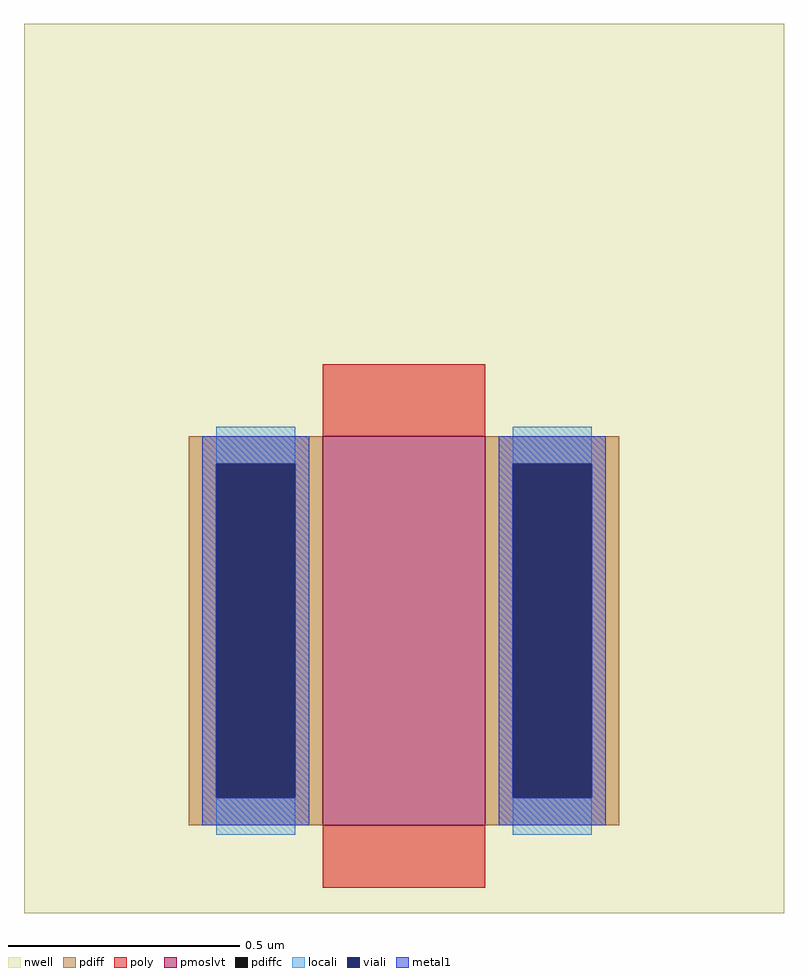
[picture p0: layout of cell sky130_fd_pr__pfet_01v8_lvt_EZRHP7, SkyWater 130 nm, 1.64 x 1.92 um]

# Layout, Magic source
magic
tech sky130A
magscale 1 2
<< nwell >>
rect -164 -122 164 262
<< pmoslvt >>
rect -35 -84 35 84
<< pdiff >>
rect -93 72 -35 84
rect -93 -72 -81 72
rect -47 -72 -35 72
rect -93 -84 -35 -72
rect 35 72 93 84
rect 35 -72 47 72
rect 81 -72 93 72
rect 35 -84 93 -72
<< pdiffc >>
rect -81 -72 -47 72
rect 47 -72 81 72
<< poly >>
rect -35 84 35 115
rect -35 -111 35 -84
<< locali >>
rect -81 72 -47 88
rect -81 -88 -47 -72
rect 47 72 81 88
rect 47 -88 81 -72
<< viali >>
rect -81 -72 -47 72
rect 47 -72 81 72
<< metal1 >>
rect -87 72 -41 84
rect -87 -72 -81 72
rect -47 -72 -41 72
rect -87 -84 -41 -72
rect 41 72 87 84
rect 41 -72 47 72
rect 81 -72 87 72
rect 41 -84 87 -72
<< properties >>
string FIXED_BBOX -178 -250 178 250
string gencell sky130_fd_pr__pfet_01v8_lvt
string library sky130
string parameters w 0.84 l 0.35 m 1 nf 1 diffcov 100 polycov 100 guard 1 glc 1 grc 1 gtc 1 gbc 1 tbcov 100 rlcov 100 topc 1 botc 1 poverlap 0 doverlap 1 lmin 0.35 wmin 0.42 compatible {sky130_fd_pr__pfet_01v8  sky130_fd_pr__pfet_01v8_lvt sky130_fd_pr__pfet_01v8_hvt  sky130_fd_pr__pfet_g5v0d10v5} full_metal 1 viasrc 100 viadrn 100 viagate 100 viagb 0 viagr 0 viagl 0 viagt 0
<< end >>
